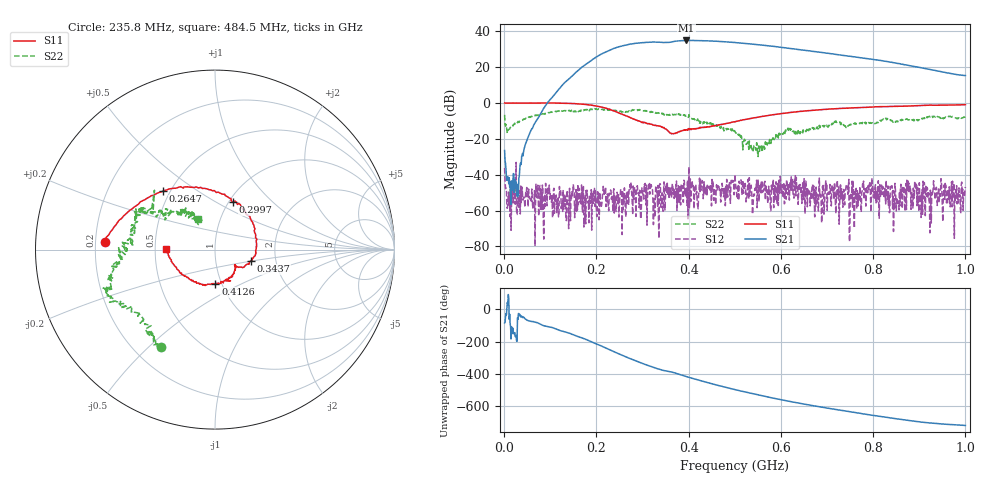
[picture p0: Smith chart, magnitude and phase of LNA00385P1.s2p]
! Created with skrf 1.9.0 (http://scikit-rf.org).
# Hz S RI R 50.0
!freq ReS11 ImS11 ReS21 ImS21 ReS12 ImS12 ReS22 ImS22
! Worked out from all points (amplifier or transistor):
!   1001 points, 1 MHz to 1 GHz, reference 50 ohm
!   highest |S21| = 34.9 dB at 394.6 MHz (marker M1)
!   |S21| within 3 dB of that: 256.7 MHz to 573.2 MHz (316.5 MHz wide, 76.3 % of centre)
!   unconditionally stable (mu >= 1): 160.2 MHz to 188.6 MHz; 197.8 MHz to 400.2 MHz; 400.9 MHz to end of sweep (the widest 3 of 35)
!   at 166.8 MHz: K = 2.69, MAG = 30.8 dB, |S12| = -56.3 dB
!   at 500.5 MHz: K = 1.17, MAG = 34.3 dB, |S12| = -39.9 dB
!   at 1 GHz: K = 3.18, MAG = 23.1 dB, |S12| = -46.8 dB
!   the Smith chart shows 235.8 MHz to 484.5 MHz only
!   S11 on the Smith chart (normalised r, x): 235.8 MHz: 0.24, +0.03; 264.7 MHz: 0.46, +0.37; 299.7 MHz: 1.04, +0.60; 343.7 MHz: 1.48, -0.19; 412.6 MHz: 0.93, -0.37; 484.5 MHz: 0.57, +0.00
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1000000  1.002 0.0161  0.00522 -0.047  -0.0147 0.00444  0.3298 0.3301
1.08892e8  0.5279 -0.8436  -0.7855 -1.519  -5.94e-05 0.000833  0.4244 -0.3735
1.67833e8  -0.2194 -0.9063  -9.83 -0.6841  -0.00286 0.00432  0.0464 -0.6264
2.07793e8  -0.6613 -0.4285  -15.99 15.28  0.00109 0.00299  -0.2211 -0.6505
2.35765e8  -0.6134 0.0402  -5.485 32.11  0.000724 -0.000612  -0.2984 -0.5402
2.64736e8  -0.2903 0.3251  18.22 37.51  -0.00243 -0.00136  -0.4582 -0.343
2.99701e8  0.0989 0.2645  44.36 19.84  0.000999 -0.00354  -0.5781 -0.2097
3.18682e8  0.2111 0.1446  50.04 4.126  -0.0051 0.00127  -0.5782 -0.0929
3.34666e8  0.2289 0.00188  49.04 -9.618  -0.000327 0.000414  -0.5293 -0.0184
3.43657e8  0.1986 -0.0623  46.65 -15.65  -0.000463 -0.00106  -0.5161 0.0411
3.72628e8  0.1165 -0.092  42.3 -32.45  -0.00241 0.00531  -0.445 0.1669
3.94606e8  0.0804 -0.1604  29.85 -47.08  0.000427 0.0035  -0.3998 0.2074
4.12588e8  0.00225 -0.1905  16.4 -53  0.00174 0.00199  -0.2917 0.1965
4.45555e8  -0.1556 -0.1556  -8.572 -53.24  0.00357 0.00272  -0.1695 0.2021
4.84516e8  -0.272 0.00365  -31.19 -40.02  0.000785 0.00224  -0.0958 0.1689
5.005e8  -0.2805 0.0961  -37.22 -31.91  0.00437 -0.00917  -0.0992 0.1265
5.4046e8  -0.2375 0.3027  -42.3 -10.6  0.00235 -9.59e-05  -0.0458 0.0269
5.88412e8  -0.0533 0.4783  -36.12 10.14  0.00191 -0.00312  -0.0875 -0.0594
6.67333e8  0.3241 0.5349  -14.45 23.74  0.00116 -0.00423  -0.1981 -0.0302
7.53247e8  0.6317 0.3662  3.101 19.6  -0.00176 -0.00138  -0.2515 0.0171
8.34166e8  0.7882 0.1298  9.848 10.08  -0.00216 -0.00172  -0.3384 0.0283
1e9  0.8046 -0.4001  5.827 -0.2903  -0.00367 -0.00271  -0.2309 0.3374
